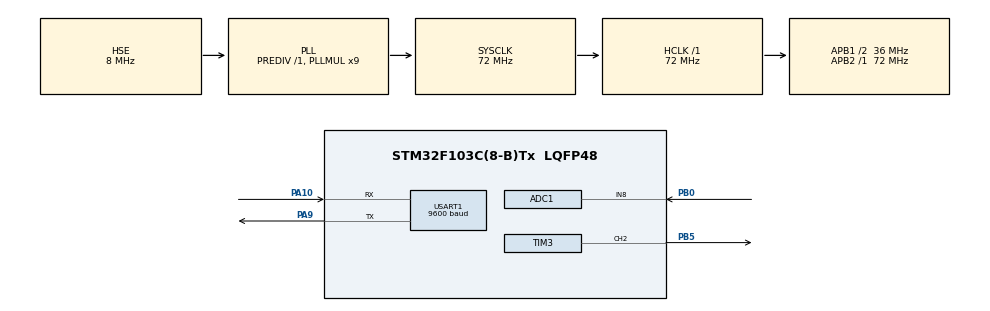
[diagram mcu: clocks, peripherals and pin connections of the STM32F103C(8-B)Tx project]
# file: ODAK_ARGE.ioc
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ADC1.Channel-0\#ChannelRegularConversion=ADC_CHANNEL_8
ADC1.ContinuousConvMode=ENABLE
ADC1.NbrOfConversionFlag=1
ADC1.Rank-0\#ChannelRegularConversion=1
ADC1.SamplingTime-0\#ChannelRegularConversion=ADC_SAMPLETIME_239CYCLES_5
ADC1.master=1
Dma.ADC1.0.Direction=DMA_PERIPH_TO_MEMORY
Dma.ADC1.0.Instance=DMA1_Channel1
Dma.ADC1.0.MemDataAlignment=DMA_MDATAALIGN_HALFWORD
Dma.ADC1.0.MemInc=DMA_MINC_ENABLE
Dma.ADC1.0.Mode=DMA_CIRCULAR
Dma.ADC1.0.PeriphDataAlignment=DMA_PDATAALIGN_HALFWORD
Dma.ADC1.0.PeriphInc=DMA_PINC_DISABLE
Dma.ADC1.0.Priority=DMA_PRIORITY_LOW
Dma.Request0=ADC1
Dma.Request1=USART1_TX
Dma.USART1_TX.1.Direction=DMA_MEMORY_TO_PERIPH
Dma.USART1_TX.1.Instance=DMA1_Channel4
Dma.USART1_TX.1.MemDataAlignment=DMA_MDATAALIGN_BYTE
Dma.USART1_TX.1.MemInc=DMA_MINC_ENABLE
Dma.USART1_TX.1.Mode=DMA_NORMAL
Dma.USART1_TX.1.PeriphDataAlignment=DMA_PDATAALIGN_BYTE
Dma.USART1_TX.1.PeriphInc=DMA_PINC_DISABLE
Dma.USART1_TX.1.Priority=DMA_PRIORITY_LOW
Mcu.Family=STM32F1
Mcu.Name=STM32F103C(8-B)Tx
Mcu.Package=LQFP48
NVIC.ADC1_2_IRQn=true\:2\:0\:true\:false\:true\:true\:true
NVIC.DMA1_Channel1_IRQn=true\:3\:0\:true\:false\:true\:false\:true
NVIC.DMA1_Channel4_IRQn=true\:3\:0\:true\:false\:true\:false\:true
NVIC.PriorityGroup=NVIC_PRIORITYGROUP_4
NVIC.TIM2_IRQn=true\:1\:0\:true\:false\:true\:true\:true
NVIC.USART1_IRQn=true\:0\:0\:false\:false\:true\:true\:true
PA10.Mode=Asynchronous
PA10.Signal=USART1_RX
PA13.Mode=Serial_Wire
PA13.Signal=SYS_JTMS-SWDIO
PA14.Mode=Serial_Wire
PA14.Signal=SYS_JTCK-SWCLK
PA9.Mode=Asynchronous
PA9.Signal=USART1_TX
PB0.Signal=ADCx_IN8
PB5.Signal=S_TIM3_CH2
PD0-OSC_IN.Mode=HSE-External-Oscillator
PD0-OSC_IN.Signal=RCC_OSC_IN
PD1-OSC_OUT.Mode=HSE-External-Oscillator
PD1-OSC_OUT.Signal=RCC_OSC_OUT
ProjectManager.HeapSize=0x200
ProjectManager.StackSize=0x400
ProjectManager.TargetToolchain=STM32CubeIDE
RCC.ADCPresc=RCC_ADCPCLK2_DIV6
RCC.AHBFreq_Value=72000000
RCC.APB1CLKDivider=RCC_HCLK_DIV2
RCC.APB1Freq_Value=36000000
RCC.APB1TimFreq_Value=72000000
RCC.APB2Freq_Value=72000000
RCC.APB2TimFreq_Value=72000000
RCC.HCLKFreq_Value=72000000
RCC.PLLMUL=RCC_PLL_MUL9
RCC.PLLSourceVirtual=RCC_PLLSOURCE_HSE
RCC.SYSCLKFreq_VALUE=72000000
RCC.SYSCLKSource=RCC_SYSCLKSOURCE_PLLCLK
RCC.USBFreq_Value=72000000
SH.ADCx_IN8.0=ADC1_IN8,IN8
SH.S_TIM3_CH2.0=TIM3_CH2,PWM Generation2 CH2
TIM2.Period=999
TIM2.Prescaler=35999
TIM3.Channel-PWM\ Generation2\ CH2=TIM_CHANNEL_2
TIM3.Period=99
TIM3.Prescaler=71
USART1.BaudRate=9600
USART1.VirtualMode=VM_ASYNC
VP_TIM2_VS_ClockSourceINT.Mode=Internal
VP_TIM3_VS_ClockSourceINT.Mode=Internal
board=custom

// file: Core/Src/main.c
/* USER CODE BEGIN Header */
/**
  ******************************************************************************
  * @file           : main.c
  * @brief          : Main program body
  ******************************************************************************
  * @attention
  *
  * <h2><center>&copy; Copyright (c) 2021 STMicroelectronics.
  * All rights reserved.</center></h2>
  *
  * This software component is licensed by ST under BSD 3-Clause license,
  * the "License"; You may not use this file except in compliance with the
  * License. You may obtain a copy of the License at:
  *                        opensource.org/licenses/BSD-3-Clause
  *
  ******************************************************************************
  */
/* USER CODE END Header */
#include "main.h"

/* USER CODE BEGIN Includes */
#include "string.h"
#include "stdint.h"
#include "stdio.h"
/* USER CODE END Includes */

/* USER CODE BEGIN PTD */
uint32_t ADC_val, ADC_vals;
uint8_t PWM_val = 100;
char adc_ch[7];
/* USER CODE END PTD */

ADC_HandleTypeDef hadc1;
DMA_HandleTypeDef hdma_adc1;

TIM_HandleTypeDef htim2;
TIM_HandleTypeDef htim3;

UART_HandleTypeDef huart1;
DMA_HandleTypeDef hdma_usart1_tx;

void SystemClock_Config(void);
static void MX_GPIO_Init(void);
static void MX_DMA_Init(void);
static void MX_ADC1_Init(void);
static void MX_TIM2_Init(void);
static void MX_TIM3_Init(void);
static void MX_USART1_UART_Init(void);
/* USER CODE BEGIN PFP */
void HAL_ADC_ConvCpltCallback(ADC_HandleTypeDef* hadc){
	ADC_vals = (ADC_val >> 2);												// Bit shifting for desired range (0 - 1024)
	sprintf(adc_ch, "%ld\n", ADC_vals);							// Build string construction
	HAL_UART_Transmit_DMA(&huart1, (uint8_t *)adc_ch, sizeof(adc_ch));		// Data sending with UART

	/*	Update timer unit for flashing	*/
	if(ADC_vals >= 500 && ADC_vals <= 700){
	  HAL_TIM_PWM_Start(&htim3, TIM_CHANNEL_2);
	}
	else if (ADC_vals > 700 && ADC_vals <= 900) {
	  TIM2->ARR = 999;														// 500 ms at 36000 prescalling value
	}
	else if (ADC_vals > 900) {
	  TIM2->ARR = 99;														// 50 ms at 36000 prescalling value
	}
	else {
	  HAL_TIM_PWM_Stop(&htim3, TIM_CHANNEL_2);
	}
}
/* USER CODE END PFP */

int main(void)
{

  /* MCU Configuration--------------------------------------------------------*/

  /* Reset of all peripherals, Initializes the Flash interface and the Systick. */
  HAL_Init();

  /* Configure the system clock */
  SystemClock_Config();

  /* Initialize all configured peripherals */
  MX_GPIO_Init();
  MX_DMA_Init();
  MX_ADC1_Init();
  MX_TIM2_Init();
  MX_TIM3_Init();
  MX_USART1_UART_Init();
  /* USER CODE BEGIN 2 */
  __HAL_UART_ENABLE_IT(&huart1, UART_IT_RXNE);				// Enable interrupt for catching new command which can be come from UART
  HAL_TIM_Base_Start_IT(&htim2);							// Enable timer interrupt for flash application

  TIM3->CCR2 = PWM_val - 1;									// First value of PWM duty cycle value

  HAL_ADC_Start_DMA(&hadc1, &ADC_val, 1);					// Taking ADC value with DMA circular mode

  //HAL_UART_Transmit_DMA(&huart1, (uint8_t *)adc_ch, sizeof(adc_ch));
 // HAL_UART_Receive_DMA(&huart1, &PWM_val, sizeof(PWM_val));

  /* USER CODE END 2 */

  /* Infinite loop */
  while (1)
  {

    /* USER CODE BEGIN 3 */
//	  	  ADC_vals = (ADC_val >> 2);
//		  sprintf(adc_ch, "%ld,%d\n", ADC_vals, PWM_val);
//		  if(ADC_vals >= 500 && ADC_vals <= 700){
//			  TIM2->ARR = 0;
//			  HAL_TIM_PWM_Start(&htim3, TIM_CHANNEL_2);
//		  }
//		  else if (ADC_vals > 700 && ADC_vals <= 900) {
//			  TIM2->ARR = 999;
//		  }
//		  else if (ADC_vals > 900) {
//			  TIM2->ARR = 99;
//		  }
//		  else {
//			  TIM2->ARR = 0;
//			  HAL_TIM_PWM_Stop(&htim3, TIM_CHANNEL_2);
//		  }
  }
  /* USER CODE END 3 */
}

void SystemClock_Config(void)
{
  RCC_OscInitTypeDef RCC_OscInitStruct = {0};
  RCC_ClkInitTypeDef RCC_ClkInitStruct = {0};
  RCC_PeriphCLKInitTypeDef PeriphClkInit = {0};

  /** Initializes the RCC Oscillators according to the specified parameters
  * in the RCC_OscInitTypeDef structure.
  */
  RCC_OscInitStruct.OscillatorType = RCC_OSCILLATORTYPE_HSE;
  RCC_OscInitStruct.HSEState = RCC_HSE_ON;
  RCC_OscInitStruct.HSEPredivValue = RCC_HSE_PREDIV_DIV1;
  RCC_OscInitStruct.HSIState = RCC_HSI_ON;
  RCC_OscInitStruct.PLL.PLLState = RCC_PLL_ON;
  RCC_OscInitStruct.PLL.PLLSource = RCC_PLLSOURCE_HSE;
  RCC_OscInitStruct.PLL.PLLMUL = RCC_PLL_MUL9;
  if (HAL_RCC_OscConfig(&RCC_OscInitStruct) != HAL_OK)
  {
    Error_Handler();
  }
  /** Initializes the CPU, AHB and APB buses clocks
  */
  RCC_ClkInitStruct.ClockType = RCC_CLOCKTYPE_HCLK|RCC_CLOCKTYPE_SYSCLK
                              |RCC_CLOCKTYPE_PCLK1|RCC_CLOCKTYPE_PCLK2;
  RCC_ClkInitStruct.SYSCLKSource = RCC_SYSCLKSOURCE_PLLCLK;
  RCC_ClkInitStruct.AHBCLKDivider = RCC_SYSCLK_DIV1;
  RCC_ClkInitStruct.APB1CLKDivider = RCC_HCLK_DIV2;
  RCC_ClkInitStruct.APB2CLKDivider = RCC_HCLK_DIV1;

  if (HAL_RCC_ClockConfig(&RCC_ClkInitStruct, FLASH_LATENCY_2) != HAL_OK)
  {
    Error_Handler();
  }
  PeriphClkInit.PeriphClockSelection = RCC_PERIPHCLK_ADC;
  PeriphClkInit.AdcClockSelection = RCC_ADCPCLK2_DIV6;
  if (HAL_RCCEx_PeriphCLKConfig(&PeriphClkInit) != HAL_OK)
  {
    Error_Handler();
  }
}

static void MX_ADC1_Init(void)
{

  ADC_ChannelConfTypeDef sConfig = {0};

  /** Common config
  */
  hadc1.Instance = ADC1;
  hadc1.Init.ScanConvMode = ADC_SCAN_DISABLE;
  hadc1.Init.ContinuousConvMode = ENABLE;
  hadc1.Init.DiscontinuousConvMode = DISABLE;
  hadc1.Init.ExternalTrigConv = ADC_SOFTWARE_START;
  hadc1.Init.DataAlign = ADC_DATAALIGN_RIGHT;
  hadc1.Init.NbrOfConversion = 1;
  if (HAL_ADC_Init(&hadc1) != HAL_OK)
  {
    Error_Handler();
  }
  /** Configure Regular Channel
  */
  sConfig.Channel = ADC_CHANNEL_8;
  sConfig.Rank = ADC_REGULAR_RANK_1;
  sConfig.SamplingTime = ADC_SAMPLETIME_239CYCLES_5;
  if (HAL_ADC_ConfigChannel(&hadc1, &sConfig) != HAL_OK)
  {
    Error_Handler();
  }

}

static void MX_TIM2_Init(void)
{

  TIM_ClockConfigTypeDef sClockSourceConfig = {0};
  TIM_MasterConfigTypeDef sMasterConfig = {0};

  htim2.Instance = TIM2;
  htim2.Init.Prescaler = 35999;
  htim2.Init.CounterMode = TIM_COUNTERMODE_UP;
  htim2.Init.Period = 999;
  htim2.Init.ClockDivision = TIM_CLOCKDIVISION_DIV1;
  htim2.Init.AutoReloadPreload = TIM_AUTORELOAD_PRELOAD_DISABLE;
  if (HAL_TIM_Base_Init(&htim2) != HAL_OK)
  {
    Error_Handler();
  }
  sClockSourceConfig.ClockSource = TIM_CLOCKSOURCE_INTERNAL;
  if (HAL_TIM_ConfigClockSource(&htim2, &sClockSourceConfig) != HAL_OK)
  {
    Error_Handler();
  }
  sMasterConfig.MasterOutputTrigger = TIM_TRGO_RESET;
  sMasterConfig.MasterSlaveMode = TIM_MASTERSLAVEMODE_DISABLE;
  if (HAL_TIMEx_MasterConfigSynchronization(&htim2, &sMasterConfig) != HAL_OK)
  {
    Error_Handler();
  }

}

static void MX_TIM3_Init(void)
{

  TIM_ClockConfigTypeDef sClockSourceConfig = {0};
  TIM_MasterConfigTypeDef sMasterConfig = {0};
  TIM_OC_InitTypeDef sConfigOC = {0};

  htim3.Instance = TIM3;
  htim3.Init.Prescaler = 71;
  htim3.Init.CounterMode = TIM_COUNTERMODE_UP;
  htim3.Init.Period = 99;
  htim3.Init.ClockDivision = TIM_CLOCKDIVISION_DIV1;
  htim3.Init.AutoReloadPreload = TIM_AUTORELOAD_PRELOAD_DISABLE;
  if (HAL_TIM_Base_Init(&htim3) != HAL_OK)
  {
    Error_Handler();
  }
  sClockSourceConfig.ClockSource = TIM_CLOCKSOURCE_INTERNAL;
  if (HAL_TIM_ConfigClockSource(&htim3, &sClockSourceConfig) != HAL_OK)
  {
    Error_Handler();
  }
  if (HAL_TIM_PWM_Init(&htim3) != HAL_OK)
  {
    Error_Handler();
  }
  sMasterConfig.MasterOutputTrigger = TIM_TRGO_RESET;
  sMasterConfig.MasterSlaveMode = TIM_MASTERSLAVEMODE_DISABLE;
  if (HAL_TIMEx_MasterConfigSynchronization(&htim3, &sMasterConfig) != HAL_OK)
  {
    Error_Handler();
  }
  sConfigOC.OCMode = TIM_OCMODE_PWM1;
  sConfigOC.Pulse = 0;
  sConfigOC.OCPolarity = TIM_OCPOLARITY_HIGH;
  sConfigOC.OCFastMode = TIM_OCFAST_DISABLE;
  if (HAL_TIM_PWM_ConfigChannel(&htim3, &sConfigOC, TIM_CHANNEL_2) != HAL_OK)
  {
    Error_Handler();
  }
  HAL_TIM_MspPostInit(&htim3);

}

static void MX_USART1_UART_Init(void)
{

  huart1.Instance = USART1;
  huart1.Init.BaudRate = 9600;
  huart1.Init.WordLength = UART_WORDLENGTH_8B;
  huart1.Init.StopBits = UART_STOPBITS_1;
  huart1.Init.Parity = UART_PARITY_NONE;
  huart1.Init.Mode = UART_MODE_TX_RX;
  huart1.Init.HwFlowCtl = UART_HWCONTROL_NONE;
  huart1.Init.OverSampling = UART_OVERSAMPLING_16;
  if (HAL_UART_Init(&huart1) != HAL_OK)
  {
    Error_Handler();
  }

}

static void MX_DMA_Init(void)
{

  /* DMA controller clock enable */
  __HAL_RCC_DMA1_CLK_ENABLE();

  /* DMA interrupt init */
  /* DMA1_Channel1_IRQn interrupt configuration */
  HAL_NVIC_SetPriority(DMA1_Channel1_IRQn, 3, 0);
  HAL_NVIC_EnableIRQ(DMA1_Channel1_IRQn);
  /* DMA1_Channel4_IRQn interrupt configuration */
  HAL_NVIC_SetPriority(DMA1_Channel4_IRQn, 3, 0);
  HAL_NVIC_EnableIRQ(DMA1_Channel4_IRQn);

}

static void MX_GPIO_Init(void)
{

  /* GPIO Ports Clock Enable */
  __HAL_RCC_GPIOD_CLK_ENABLE();
  __HAL_RCC_GPIOB_CLK_ENABLE();
  __HAL_RCC_GPIOA_CLK_ENABLE();

}

void Error_Handler(void)
{
}

/************************ (C) COPYRIGHT STMicroelectronics *****END OF FILE****/
